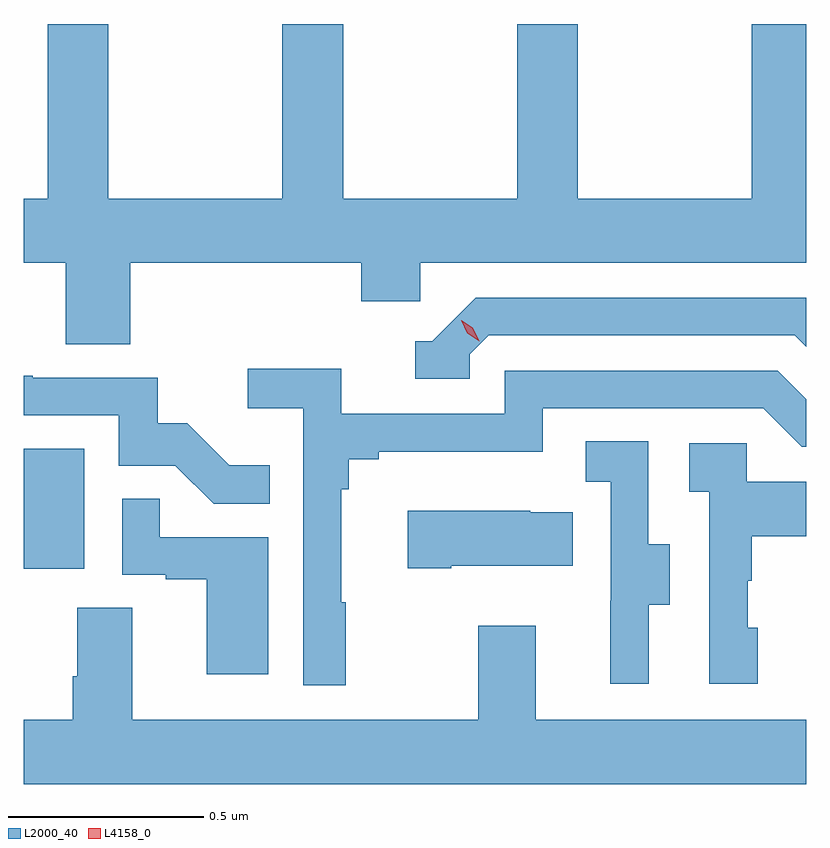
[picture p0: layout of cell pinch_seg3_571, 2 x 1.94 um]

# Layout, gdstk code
import gdstk
lib = gdstk.Library(unit=1e-6, precision=1e-09)
def R(c, l, rs):  # rectangles x0, y0, x1, y1
    for r in rs: c.add(gdstk.rectangle(r[:2], r[2:], *l))
def P(c, l, *ps):  # polygons
    for p in ps: c.add(gdstk.Polygon(p, *l))
L2000_40 = (2000, 40)
L4158_0 = (4158, 0)

pinch_seg3_571 = lib.new_cell('pinch_seg3_571')
R(pinch_seg3_571, L2000_40, [(1128.366,686.814,1128.52,687.121)])
P(pinch_seg3_571, L2000_40, [(1128.638,687.596),(1129.229,687.596),(1129.229,687.498),(1129.38,687.498),(1129.38,687.596),(1130.366,687.596),(1130.366,688.207),(1130.227,688.207),(1130.227,687.76),(1129.782,687.76),(1129.782,688.207),(1129.627,688.207),(1129.627,687.76),(1129.182,687.76),(1129.182,688.207),(1129.027,688.207),(1129.027,687.76),(1128.582,687.76),(1128.582,688.207),(1128.427,688.207),(1128.427,687.76),(1128.366,687.76),(1128.366,687.596),(1128.473,687.596),(1128.473,687.388),(1128.638,687.388)],
  [(1129.506,687.363),(1129.554,687.411),(1130.337,687.411),(1130.366,687.382),(1130.366,687.507),(1129.521,687.507),(1129.41,687.396),(1129.367,687.396),(1129.367,687.3),(1129.506,687.3)],
  [(1129.189,686.729),(1129.177,686.729),(1129.177,687.017),(1129.196,687.017),(1129.196,687.094),(1129.273,687.094),(1129.273,687.113),(1129.692,687.113),(1129.692,687.225),(1130.256,687.225),(1130.355,687.126),(1130.366,687.126),(1130.366,687.248),(1130.293,687.321),(1129.596,687.321),(1129.596,687.21),(1129.178,687.21),(1129.178,687.326),(1128.939,687.326),(1128.939,687.224),(1129.08,687.224),(1129.08,686.517),(1129.189,686.517)],
  [(1128.995,687.079),(1128.891,687.079),(1128.784,687.186),(1128.708,687.186),(1128.708,687.303),(1128.389,687.303),(1128.389,687.308),(1128.366,687.308),(1128.366,687.207),(1128.609,687.207),(1128.609,687.078),(1128.753,687.078),(1128.851,686.98),(1128.995,686.98)],
  [(1129.963,686.722),(1130.017,686.722),(1130.017,686.877),(1129.962,686.877),(1129.962,687.14),(1129.803,687.14),(1129.803,687.037),(1129.866,687.037),(1129.866,686.733),(1129.865,686.733),(1129.865,686.52),(1129.963,686.52)],
  [(1130.242,686.664),(1130.217,686.664),(1130.217,686.783),(1130.227,686.783),(1130.227,686.897),(1130.366,686.897),(1130.366,687.037),(1130.214,687.037),(1130.214,687.135),(1130.067,687.135),(1130.067,687.011),(1130.118,687.011),(1130.118,686.52),(1130.242,686.52)],
  [(1128.991,686.895),(1128.713,686.895),(1128.713,686.993),(1128.618,686.993),(1128.618,686.799),(1128.729,686.799),(1128.729,686.787),(1128.833,686.787),(1128.833,686.544),(1128.991,686.544)],
  [(1129.459,686.822),(1129.769,686.822),(1129.769,686.959),(1129.661,686.959),(1129.661,686.962),(1129.347,686.962),(1129.347,686.815),(1129.459,686.815)],
  [(1130.366,686.428),(1129.675,686.428),(1129.675,686.668),(1129.528,686.668),(1129.528,686.428),(1128.643,686.428),(1128.643,686.714),(1128.503,686.714),(1128.503,686.54),(1128.491,686.54),(1128.491,686.428),(1128.366,686.428),(1128.366,686.264),(1130.366,686.264)])
P(pinch_seg3_571, L4158_0, [(1129.53,687.396),(1129.499,687.417),(1129.484,687.45),(1129.484,687.45),(1129.484,687.45),(1129.514,687.43),(1129.53,687.397),(1129.53,687.396)])

lib.write_gds('pinch_seg3_571.gds')
